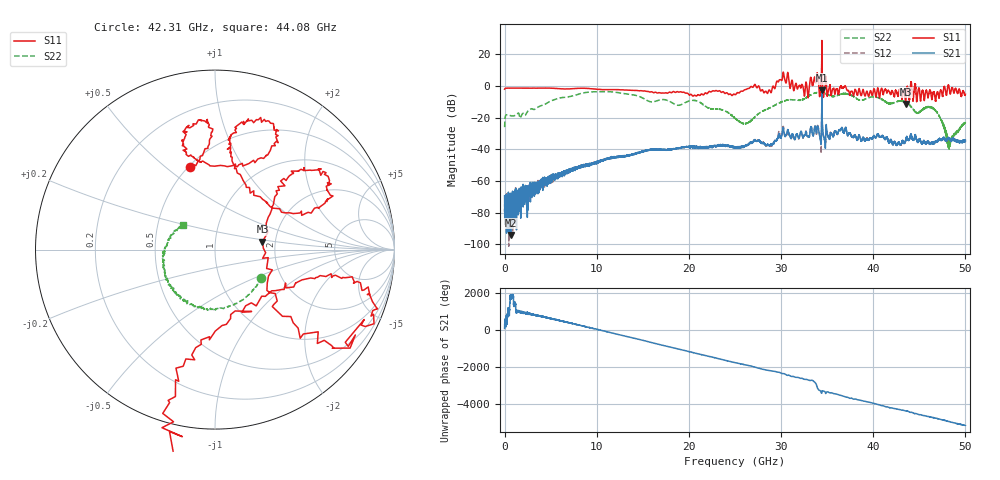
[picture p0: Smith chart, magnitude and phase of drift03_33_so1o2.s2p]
!Created with skrf (http://scikit-rf.org).
# Hz S RI R 50.0
!freq ReS11 ImS11 ReS21 ImS21 ReS12 ImS12 ReS22 ImS22
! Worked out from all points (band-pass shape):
!   10000 points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, 5.3 MHz to 50 GHz, reference 50 ohm
!   highest |S21| = -2.83 dB at 34.43 GHz (marker M1); lowest = -94.2 dB at 665.3 MHz (marker M2)
!   |S21| within 3 dB of the highest: 34.42757 GHz to 34.43519 GHz (7.614 MHz wide, 0.0221 % of centre)
!   lowest |S11| = -11.4 dB at 43.52 GHz (marker M3), VSWR 1.73, Z = 85.5 + j8 ohm
!   |S11| at or under -10 dB: 43.48956 GHz to 43.54161 GHz (52.05 MHz wide, 0.12 % of centre); 44.70959 GHz to 44.71061 GHz (1.017 MHz wide, 0.00228 % of centre)
!   |S22| runs from -40.0 to -3.6 dB; largest |S21 - S12| = 0.23
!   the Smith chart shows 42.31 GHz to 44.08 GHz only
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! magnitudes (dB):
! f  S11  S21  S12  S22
! 5.3 MHz  -2.1  -69.5  -77.6  -26.1
! 665.3 MHz  -1.4  -94.2  -72.9  -18.8
! 3.05 GHz  -1.4  -65.5  -65.2  -14.6
! 8.34 GHz  -1.5  -51.6  -50.5  -4.7
! 16.67 GHz  -4.4  -40.1  -40.3  -9.1
! 20.74 GHz  -6.3  -38.7  -38.5  -9.3
! 25.01 GHz  -5.5  -38.7  -38.8  -20.5
! 26.24 GHz  -2.2  -37.4  -37.5  -23.6
! 28.72 GHz  -2.5  -37.8  -37.5  -14.1
! 30.14 GHz  4.4  -29.5  -29.5  -9.9
! 32.74 GHz  2.0  -29.4  -29.2  -7.4
! 33.34 GHz  2.6  -27.4  -27.7  -5.3
! 33.82 GHz  4.0  -29.0  -29.5  -4.3
! 34.43 GHz  28.7  -2.8  -4.8  -3.9
! 36.48 GHz  -0.5  -28.1  -27.9  -5.3
! 38.87 GHz  -2.4  -32.7  -32.6  -8.9
! 41.67 GHz  -3.0  -35.3  -35.5  -10.9
! 43.52 GHz  -11.4  -34.4  -34.5  -10.4
! 44.74 GHz  -9.4  -34.3  -34.6  -17.0
! 46.66 GHz  -5.4  -35.7  -35.9  -15.0
! 48.22 GHz  -0.5  -33.0  -33.1  -36.2
! 50 GHz  -5.3  -34.4  -35.3  -23.2
